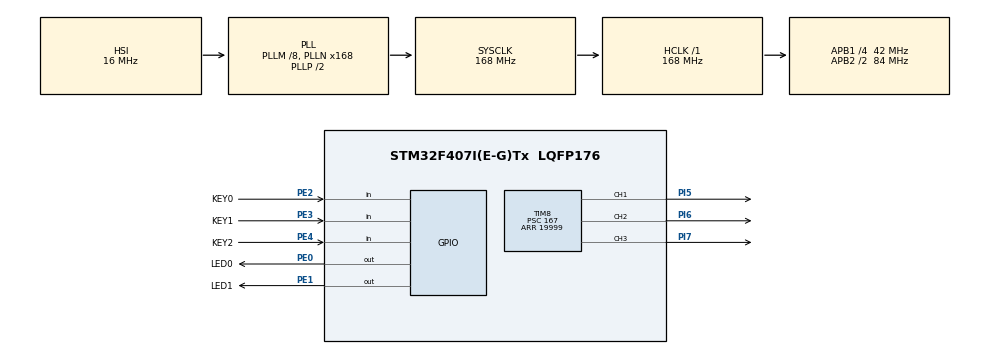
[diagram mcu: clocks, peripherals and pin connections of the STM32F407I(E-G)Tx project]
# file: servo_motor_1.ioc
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Mcu.Family=STM32F4
Mcu.Name=STM32F407I(E-G)Tx
Mcu.Package=LQFP176
NVIC.PriorityGroup=NVIC_PRIORITYGROUP_4
PA13.Mode=Serial_Wire
PA13.Signal=SYS_JTMS-SWDIO
PA14.Mode=Serial_Wire
PA14.Signal=SYS_JTCK-SWCLK
PE0.GPIO_Label=LED0
PE0.PinState=GPIO_PIN_SET
PE0.Signal=GPIO_Output
PE1.GPIO_Label=LED1
PE1.PinState=GPIO_PIN_SET
PE1.Signal=GPIO_Output
PE2.GPIO_Label=KEY0
PE2.GPIO_PuPd=GPIO_PULLUP
PE2.Signal=GPIO_Input
PE3.GPIO_Label=KEY1
PE3.GPIO_PuPd=GPIO_PULLUP
PE3.Signal=GPIO_Input
PE4.GPIO_Label=KEY2
PE4.GPIO_PuPd=GPIO_PULLUP
PE4.Signal=GPIO_Input
PH0-OSC_IN.Mode=HSE-External-Oscillator
PH0-OSC_IN.Signal=RCC_OSC_IN
PH1-OSC_OUT.Mode=HSE-External-Oscillator
PH1-OSC_OUT.Signal=RCC_OSC_OUT
PI5.Signal=S_TIM8_CH1
PI6.Signal=S_TIM8_CH2
PI7.Signal=S_TIM8_CH3
ProjectManager.HeapSize=0x200
ProjectManager.StackSize=0x400
ProjectManager.TargetToolchain=MDK-ARM V5.32
RCC.48MHZClocksFreq_Value=84000000
RCC.AHBFreq_Value=168000000
RCC.APB1CLKDivider=RCC_HCLK_DIV4
RCC.APB1Freq_Value=42000000
RCC.APB1TimFreq_Value=84000000
RCC.APB2CLKDivider=RCC_HCLK_DIV2
RCC.APB2Freq_Value=84000000
RCC.APB2TimFreq_Value=168000000
RCC.CortexFreq_Value=168000000
RCC.HCLKFreq_Value=168000000
RCC.HSE_VALUE=25000000
RCC.HSI_VALUE=16000000
RCC.LSE_VALUE=32768
RCC.PLLM=8
RCC.PLLN=168
RCC.SYSCLKFreq_VALUE=168000000
RCC.SYSCLKSource=RCC_SYSCLKSOURCE_PLLCLK
RCC.VCOOutputFreq_Value=336000000
SH.S_TIM8_CH1.0=TIM8_CH1,PWM Generation1 CH1
SH.S_TIM8_CH2.0=TIM8_CH2,PWM Generation2 CH2
SH.S_TIM8_CH3.0=TIM8_CH3,PWM Generation3 CH3
TIM8.Channel-PWM\ Generation1\ CH1=TIM_CHANNEL_1
TIM8.Channel-PWM\ Generation2\ CH2=TIM_CHANNEL_2
TIM8.Channel-PWM\ Generation3\ CH3=TIM_CHANNEL_3
TIM8.OCMode_PWM-PWM\ Generation1\ CH1=TIM_OCMODE_PWM2
TIM8.OCMode_PWM-PWM\ Generation2\ CH2=TIM_OCMODE_PWM2
TIM8.OCMode_PWM-PWM\ Generation3\ CH3=TIM_OCMODE_PWM2
TIM8.Period=19999
TIM8.Prescaler=167
board=custom

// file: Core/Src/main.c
/* USER CODE BEGIN Header */
/**
  ******************************************************************************
  * @file           : main.c
  * @brief          : Main program body
  ******************************************************************************
  * @attention
  *
  * Copyright (c) 2025 STMicroelectronics.
  * All rights reserved.
  *
  * This software is licensed under terms that can be found in the LICENSE file
  * in the root directory of this software component.
  * If no LICENSE file comes with this software, it is provided AS-IS.
  *
  ******************************************************************************
  */
/* USER CODE END Header */
#include "main.h"
#include "tim.h"
#include "gpio.h"

/* USER CODE BEGIN Includes */
#include "key_led.h"
#include "servo_motor.h"
/* USER CODE END Includes */

/* USER CODE BEGIN PV */
uint8_t servo1_angle = 90; // 舵机1初始角度
uint8_t servo2_angle = 90; // 舵机2初始角度
uint8_t servo3_angle = 90; // 舵机3初始角度

uint8_t k0_direction = 0; // 按键0对应舵机1角度增加还是减小，0表示增加
uint8_t k1_direction = 0; // 按键1对应舵机2角度增加还是减小，0表示增加
uint8_t k2_direction = 0; // 按键2对应舵机3角度增加还是减小，0表示增加
/* USER CODE END PV */

void SystemClock_Config(void);

int main(void)
{

  /* MCU Configuration--------------------------------------------------------*/

  /* Reset of all peripherals, Initializes the Flash interface and the Systick. */
  HAL_Init();

  /* Configure the system clock */
  SystemClock_Config();

  /* Initialize all configured peripherals */
  MX_GPIO_Init();
  MX_TIM8_Init();
  /* USER CODE BEGIN 2 */
  KEY_Init(); // 初始化按键
  LED_Init(); // 初始化LED
  ServoMotor_Init(); // 初始化舵机
  /* USER CODE END 2 */

  /* Infinite loop */
  /* USER CODE BEGIN WHILE */
  uint8_t key_value = 0; // 按键状态
  while (1)
  {
    key_value = KEY_Scan(); // 扫描按键状态
    if(key_value == 1) // 按键0被按下
    {
      LED_Toggle(LED0_Pin);
      if(k0_direction == 0) // 如果当前是增加角度
      {
        servo1_angle += 10; // 增加舵机1角度
      }else // 如果当前是减小角度
      {
        servo1_angle -= 10; // 减小舵机1角度
      }
      if(servo1_angle >= 180){
        servo1_angle = 180; // 限制角度在0-180度之间
        k0_direction = 1; // 切换为减小角度
      }
      if(servo1_angle <= 0){
        servo1_angle = 0; // 限制角度在0-180度之间
        k0_direction = 0; // 切换为增加角度
      }
      ServoMotor_SetAngle(SERVO_1, servo1_angle); // 设置舵机1角度
    }else if(key_value == 2) // 按键1被按下
    {
      LED_Toggle(LED1_Pin);
      if(k1_direction == 0) // 如果当前是增加角度
      {
        servo2_angle += 10; // 增加舵机2角度
      } else // 如果当前是减小角度
      {
        servo2_angle -= 10; // 减小舵机2角度
      }

      if(servo2_angle >= 180){
        servo2_angle = 180; // 限制角度在0-180度之间
        k1_direction = 1; // 切换为减小角度
      }

      if(servo2_angle <= 0){
        servo2_angle = 0; // 限制角度在0-180度之间
        k1_direction = 0; // 切换为增加角度
      }
      ServoMotor_SetAngle(SERVO_2, servo2_angle); // 设置舵机2角度
    }else if(key_value == 3) // 按键2被按下
    {
      LED_Toggle(LED0_Pin);
      LED_Toggle(LED1_Pin);
      if(k2_direction == 0) // 如果当前是增加角度
      {
        servo3_angle += 10; // 增加舵机3角度
      } else // 如果当前是减小角度
      {
        servo3_angle -= 10; // 减小舵机3角度
      }

      if(servo3_angle >= 180){
        servo3_angle = 180; // 限制角度在0-180度之间
        k2_direction = 1; // 切换为减小角度
      }
      if(servo3_angle <= 0){
        servo3_angle = 0; // 限制角度在0-180度之间
        k2_direction = 0; // 切换为增加角度
      }
      ServoMotor_SetAngle(SERVO_3, servo3_angle); // 设置舵机3角度
    }

    HAL_Delay(20); // 延时100ms，避免CPU占用过高
    /* USER CODE END WHILE */

  }
}

void SystemClock_Config(void)
{
  RCC_OscInitTypeDef RCC_OscInitStruct = {0};
  RCC_ClkInitTypeDef RCC_ClkInitStruct = {0};

  /** Configure the main internal regulator output voltage
  */
  __HAL_RCC_PWR_CLK_ENABLE();
  __HAL_PWR_VOLTAGESCALING_CONFIG(PWR_REGULATOR_VOLTAGE_SCALE1);

  /** Initializes the RCC Oscillators according to the specified parameters
  * in the RCC_OscInitTypeDef structure.
  */
  RCC_OscInitStruct.OscillatorType = RCC_OSCILLATORTYPE_HSI;
  RCC_OscInitStruct.HSIState = RCC_HSI_ON;
  RCC_OscInitStruct.HSICalibrationValue = RCC_HSICALIBRATION_DEFAULT;
  RCC_OscInitStruct.PLL.PLLState = RCC_PLL_ON;
  RCC_OscInitStruct.PLL.PLLSource = RCC_PLLSOURCE_HSI;
  RCC_OscInitStruct.PLL.PLLM = 8;
  RCC_OscInitStruct.PLL.PLLN = 168;
  RCC_OscInitStruct.PLL.PLLP = RCC_PLLP_DIV2;
  RCC_OscInitStruct.PLL.PLLQ = 4;
  if (HAL_RCC_OscConfig(&RCC_OscInitStruct) != HAL_OK)
  {
    Error_Handler();
  }

  /** Initializes the CPU, AHB and APB buses clocks
  */
  RCC_ClkInitStruct.ClockType = RCC_CLOCKTYPE_HCLK|RCC_CLOCKTYPE_SYSCLK
                              |RCC_CLOCKTYPE_PCLK1|RCC_CLOCKTYPE_PCLK2;
  RCC_ClkInitStruct.SYSCLKSource = RCC_SYSCLKSOURCE_PLLCLK;
  RCC_ClkInitStruct.AHBCLKDivider = RCC_SYSCLK_DIV1;
  RCC_ClkInitStruct.APB1CLKDivider = RCC_HCLK_DIV4;
  RCC_ClkInitStruct.APB2CLKDivider = RCC_HCLK_DIV2;

  if (HAL_RCC_ClockConfig(&RCC_ClkInitStruct, FLASH_LATENCY_5) != HAL_OK)
  {
    Error_Handler();
  }
}

void Error_Handler(void)
{
  __disable_irq();
  while (1)
  {
  }
}
